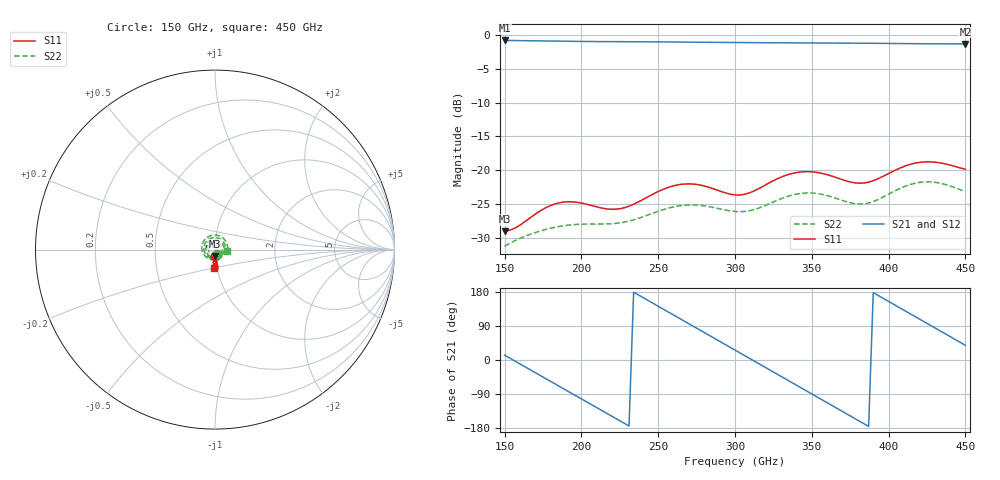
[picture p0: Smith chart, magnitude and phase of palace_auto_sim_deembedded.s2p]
! Created with skrf 1.11.0 (http://scikit-rf.org).
# GHz S DB R 50.0
!freq dBS11 angS11 dBS21 angS21 dBS12 angS12 dBS22 angS22
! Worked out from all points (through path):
!   101 points, 150 GHz to 450 GHz, reference 50 ohm
!   highest |S21| = -0.81 dB at 150 GHz (marker M1); lowest = -1.3 dB at 450 GHz (marker M2)
!   group delay of S21, straight-line fit = 6.43 ps
!   lowest |S11| = -29.0 dB at 150 GHz (marker M3), VSWR 1.07, Z = 49.7 - j3.51 ohm
!   |S11| at or under -10 dB: start of sweep to end of sweep
!   |S22| runs from -31.3 to -21.7 dB; largest |S21 - S12| = 1.8e-13
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150  -29.05 -92.5  -0.81 12.8  -0.81 12.8  -31.25 -70.5
165  -27.33 -81.3  -0.84 -21.9  -0.84 -21.9  -29.64 -135.1
180  -25.23 -85.2  -0.89 -56.6  -0.89 -56.6  -28.60 160.5
201  -24.92 -96.5  -0.95 -105.0  -0.95 -105.0  -28.00 68.5
216  -25.73 -94.7  -0.98 -139.5  -0.98 -139.5  -27.97 -1.8
228  -25.56 -87.2  -0.99 -167.2  -0.99 -167.2  -27.69 -61.3
240  -24.36 -82.2  -1.00 165.0  -1.00 165.0  -26.91 -120.1
252  -22.96 -83.5  -1.02 137.2  -1.02 137.2  -25.94 -175.2
264  -22.13 -89.4  -1.05 109.4  -1.05 109.4  -25.28 133.0
276  -22.15 -95.8  -1.07 81.7  -1.07 81.7  -25.19 82.1
300  -23.67 -93.0  -1.11 26.2  -1.11 26.2  -26.12 -29.5
312  -23.12 -84.0  -1.13 -1.6  -1.13 -1.6  -25.87 -91.4
324  -21.68 -81.4  -1.15 -29.4  -1.15 -29.4  -24.80 -150.4
339  -20.40 -87.0  -1.17 -64.0  -1.17 -64.0  -23.60 143.3
351  -20.27 -93.2  -1.18 -91.8  -1.18 -91.8  -23.40 92.8
363  -20.88 -96.9  -1.19 -119.6  -1.19 -119.6  -23.96 40.4
378  -21.88 -92.4  -1.21 -154.4  -1.21 -154.4  -24.96 -34.0
390  -21.56 -83.7  -1.23 177.8  -1.23 177.8  -24.65 -98.6
402  -20.27 -80.1  -1.25 149.9  -1.25 149.9  -23.31 -158.2
426  -18.77 -88.9  -1.30 94.4  -1.30 94.4  -21.73 99.9
438  -19.13 -93.2  -1.31 66.6  -1.31 66.6  -22.20 49.0
450  -19.87 -92.4  -1.32 38.7  -1.32 38.7  -23.16 -8.0
